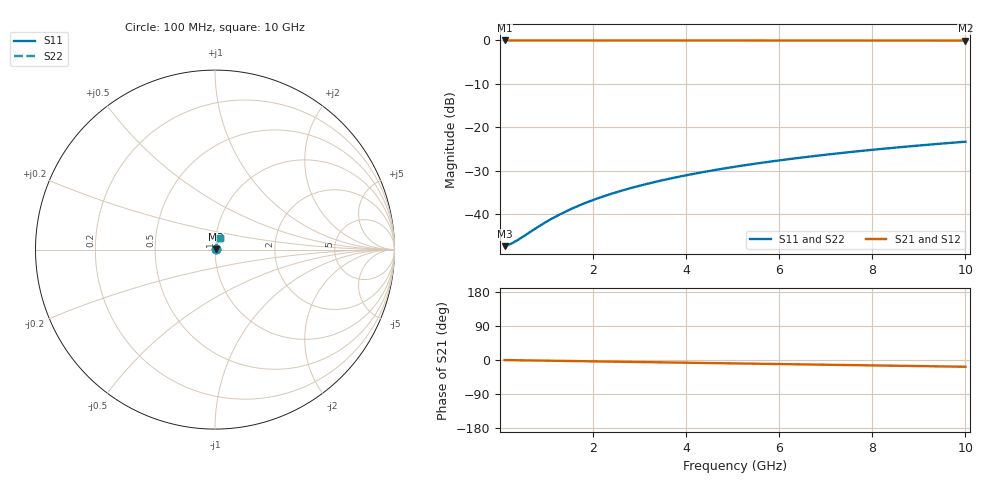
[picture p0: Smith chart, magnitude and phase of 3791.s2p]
# Hz S RI R 50.00
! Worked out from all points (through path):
!   100 points, 100 MHz to 10 GHz, reference 50 ohm
!   highest |S21| = -0.04 dB at 100 MHz (marker M1); lowest = -0.1 dB at 10 GHz (marker M2)
!   group delay of S21, straight-line fit = 4.95 ps
!   lowest |S11| = -47.4 dB at 100 MHz (marker M3), VSWR 1.01, Z = 50.4 + j0.0685 ohm
!   |S11| at or under -10 dB: start of sweep to end of sweep
!   |S22| runs from -47.4 to -23.3 dB; largest |S21 - S12| = 0
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1e8  0.00422 0.000679  0.9958 -0.0031  0.9958 -0.0031  0.00422 0.000679
2e8  0.00426 0.00136  0.9957 -0.0062  0.9957 -0.0062  0.00426 0.00136
3e8  0.00429 0.00204  0.9957 -0.0093  0.9957 -0.0093  0.00429 0.00204
4e8  0.00432 0.00272  0.9956 -0.0124  0.9956 -0.0124  0.00432 0.00272
9e8  0.00451 0.00611  0.9952 -0.0279  0.9952 -0.0279  0.00451 0.00611
1.2e9  0.00467 0.00814  0.9949 -0.0372  0.9949 -0.0372  0.00467 0.00814
1.5e9  0.00486 0.0102  0.9944 -0.0465  0.9944 -0.0465  0.00486 0.0102
1.8e9  0.00508 0.0122  0.9939 -0.0558  0.9939 -0.0558  0.00508 0.0122
2.1e9  0.00535 0.0142  0.9933 -0.065  0.9933 -0.065  0.00535 0.0142
2.5e9  0.00576 0.0169  0.9924 -0.0774  0.9924 -0.0774  0.00576 0.0169
2.9e9  0.00623 0.0196  0.9912 -0.0897  0.9912 -0.0897  0.00623 0.0196
3.4e9  0.00691 0.0229  0.9896 -0.1051  0.9896 -0.1051  0.00691 0.0229
3.8e9  0.00753 0.0255  0.9881 -0.1174  0.9881 -0.1174  0.00753 0.0255
4.2e9  0.00822 0.0282  0.9865 -0.1297  0.9865 -0.1297  0.00822 0.0282
4.6e9  0.00897 0.0308  0.9847 -0.142  0.9847 -0.142  0.00897 0.0308
5.1e9  0.01 0.034  0.9822 -0.1572  0.9822 -0.1572  0.01 0.034
5.9e9  0.0119 0.0391  0.9778 -0.1816  0.9778 -0.1816  0.0119 0.0391
6.7e9  0.014 0.0441  0.9727 -0.2058  0.9727 -0.2058  0.014 0.0441
7.5e9  0.0163 0.0489  0.967 -0.2299  0.967 -0.2299  0.0163 0.0489
8.4e9  0.0192 0.0543  0.9598 -0.2568  0.9598 -0.2568  0.0192 0.0543
9.2e9  0.0221 0.0589  0.9528 -0.2804  0.9528 -0.2804  0.0221 0.0589
1e10  0.0252 0.0633  0.9452 -0.3039  0.9452 -0.3039  0.0252 0.0633
